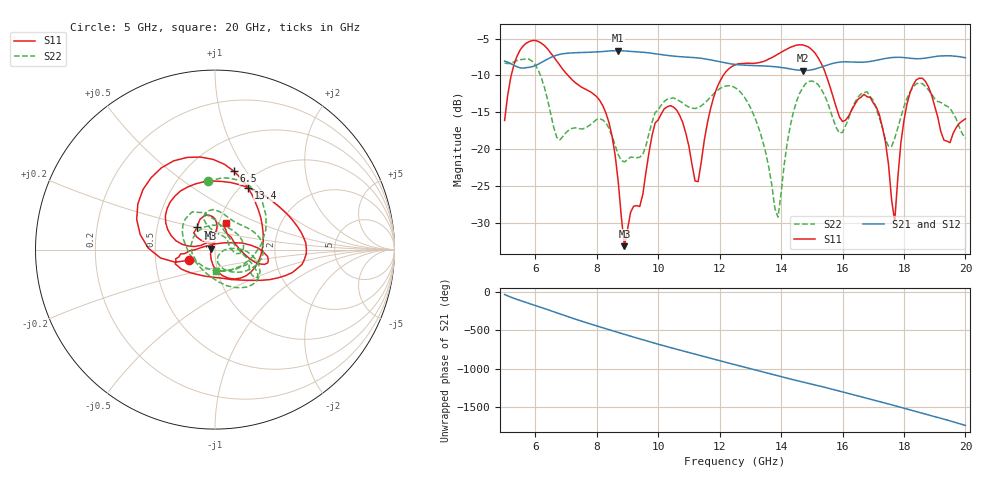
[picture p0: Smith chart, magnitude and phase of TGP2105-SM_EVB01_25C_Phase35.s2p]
! Date: Wednesday, June 05, 2013  1:51 PM
! Filename: C:\Data\Mike_Arnold\TGP2105-SM\Over_Temp\TGP2105-SM_EVB01_25C_Phase35.s2p
! Comments:
!^VDC(V):5.000
!^VDC(mA):0.032
!%Freq(GHz),S11(dB),S11(ang),S21(dB),S21(ang),S12(dB),S12(ang),S22(dB),S22(ang)
# GHz  S  DB  R  50
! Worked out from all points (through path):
!   151 points, 5 GHz to 20 GHz, reference 50 ohm
!   highest |S21| = -6.64 dB at 8.7 GHz (marker M1); lowest = -9.3 dB at 14.7 GHz (marker M2)
!   lowest |S11| = -33.1 dB at 8.9 GHz (marker M3), VSWR 1.05, Z = 47.9 + j0.421 ohm
!   |S11| at or under -10 dB: start of sweep to 5.216 GHz; 7.065 GHz to 12.12 GHz (5.053 GHz wide, 52.7 % of centre); 15.47 GHz to end of sweep
!   |S22| runs from -29.2 to -7.8 dB; largest |S21 - S12| = 0.0021
!   S11 on the Smith chart (normalised r, x): 5 GHz: 0.74, -0.09; 6.5 GHz: 0.80, +0.88; 10 GHz: 0.80, +0.20; 13.4 GHz: 1.08, +0.88; 20 GHz: 1.07, +0.33
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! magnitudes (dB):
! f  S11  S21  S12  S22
! 5 GHz  -16.1  -8.1  -8.1  -8.3
! 5.5 GHz  -6.6  -9.0  -9.0  -7.9
! 6.5 GHz  -6.9  -7.6  -7.6  -15.1
! 7.5 GHz  -11.6  -6.9  -6.9  -17.3
! 8.7 GHz  -24.4  -6.6  -6.7  -20.7
! 8.9 GHz  -33.1  -6.7  -6.7  -21.7
! 10 GHz  -16.0  -7.1  -7.2  -14.7
! 10.6 GHz  -14.7  -7.4  -7.5  -13.2
! 11.3 GHz  -24.4  -7.6  -7.7  -14.4
! 12.5 GHz  -8.6  -8.5  -8.5  -11.6
! 13.4 GHz  -8.1  -8.7  -8.7  -18.9
! 13.9 GHz  -7.1  -8.9  -8.9  -29.2
! 14.7 GHz  -5.9  -9.3  -9.3  -11.7
! 15 GHz  -6.5  -9.2  -9.3  -10.8
! 16 GHz  -16.2  -8.2  -8.2  -17.7
! 16.9 GHz  -13.0  -8.1  -8.1  -12.9
! 17.5 GHz  -22.1  -7.6  -7.7  -19.6
! 17.7 GHz  -29.7  -7.5  -7.6  -18.5
! 18 GHz  -16.1  -7.6  -7.6  -14.2
! 18.4 GHz  -10.6  -7.7  -7.8  -11.1
! 19.3 GHz  -18.7  -7.3  -7.4  -14.0
! 20 GHz  -15.9  -7.6  -7.7  -18.5
